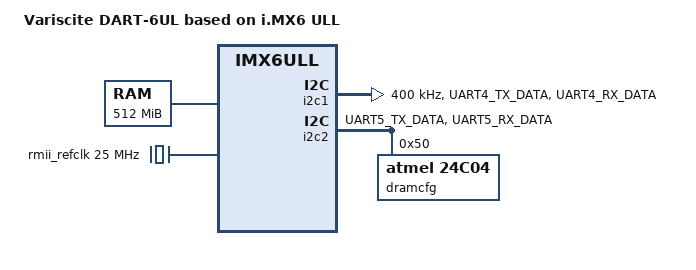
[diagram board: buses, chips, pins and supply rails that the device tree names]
/* 
 * Copyright (C) 2018 Amotus Solutions, Inc.
 */

#include "imx6ull.dtsi"

/ {
	model = "Variscite DART-6UL based on i.MX6 ULL";
	compatible = "variscite,imx6ull-variscite", "fsl,imx6ull";

	memory {
		reg = <0x80000000 0x20000000>;
	};

	clocks {
		rmii_refclk: oscillator {
			compatible = "fixed-clock";
			#clock-cells = <0>;
			clock-frequency = <25000000>;
			clock-output-names = "rmii-ref";
		};
	};
};

&wdog1 {
	pinctrl-names = "default";
	pinctrl-0 = <&pinctrl_wdog>;
	fsl,ext-reset-output;
};

&i2c1 {
	clock-frequency = <400000>;
	pinctrl-names = "default";
	pinctrl-0 = <&pinctrl_i2c1>;
	status = "okay";
};

&i2c2 {
	clock_frequency = <100000>;
	pinctrl-names = "default";
	pinctrl-0 = <&pinctrl_i2c2>;
	status = "okay";

	/* BR24G04NUX-3TTR DRAM timings eeprom */
	dramcfg: eeprom@50 {
		compatible = "atmel,24c04";
		pagesize = <16>;
		reg = <0x50>;
		read-only;
	};
};

&snvs_rtc {
	status = "disabled";
};

&snvs_poweroff {
	status = "okay";
};

&iomuxc {
	pinctrl_usdhc1: usdhc1grp {
		fsl,pins = <
		MX6UL_PAD_SD1_CMD__USDHC1_CMD		0x17059
		MX6UL_PAD_SD1_CLK__USDHC1_CLK		0x17059
		MX6UL_PAD_SD1_DATA0__USDHC1_DATA0	0x17059
		MX6UL_PAD_SD1_DATA1__USDHC1_DATA1	0x17059
		MX6UL_PAD_SD1_DATA2__USDHC1_DATA2	0x17059
		MX6UL_PAD_SD1_DATA3__USDHC1_DATA3	0x17059
		>;
	};

	pinctrl_usdhc1_100mhz: usdhc1grp100mhz {
		fsl,pins = <
		MX6UL_PAD_SD1_CMD__USDHC1_CMD		0x170b9
		MX6UL_PAD_SD1_CLK__USDHC1_CLK		0x100b9
		MX6UL_PAD_SD1_DATA0__USDHC1_DATA0	0x170b9
		MX6UL_PAD_SD1_DATA1__USDHC1_DATA1	0x170b9
		MX6UL_PAD_SD1_DATA2__USDHC1_DATA2	0x170b9
		MX6UL_PAD_SD1_DATA3__USDHC1_DATA3	0x170b9
		>;
	};

	pinctrl_usdhc1_200mhz: usdhc1grp200mhz {
		fsl,pins = <
		MX6UL_PAD_SD1_CMD__USDHC1_CMD		0x170f9
		MX6UL_PAD_SD1_CLK__USDHC1_CLK		0x100f9
		MX6UL_PAD_SD1_DATA0__USDHC1_DATA0	0x170f9
		MX6UL_PAD_SD1_DATA1__USDHC1_DATA1	0x170f9
		MX6UL_PAD_SD1_DATA2__USDHC1_DATA2	0x170f9
		MX6UL_PAD_SD1_DATA3__USDHC1_DATA3	0x170f9
		>;
	};

	pinctrl_usdhc2: usdhc2grp {
		fsl,pins = <
		MX6UL_PAD_NAND_RE_B__USDHC2_CLK		0x10069
		MX6UL_PAD_NAND_WE_B__USDHC2_CMD		0x17059
		MX6UL_PAD_NAND_DATA00__USDHC2_DATA0	0x17059
		MX6UL_PAD_NAND_DATA01__USDHC2_DATA1	0x17059
		MX6UL_PAD_NAND_DATA02__USDHC2_DATA2	0x17059
		MX6UL_PAD_NAND_DATA03__USDHC2_DATA3	0x17059
		MX6UL_PAD_NAND_DATA04__USDHC2_DATA4	0x17059
		MX6UL_PAD_NAND_DATA05__USDHC2_DATA5	0x17059
		MX6UL_PAD_NAND_DATA06__USDHC2_DATA6	0x17059
		MX6UL_PAD_NAND_DATA07__USDHC2_DATA7	0x17059
		>;
	};

	pinctrl_usdhc2_100mhz: usdhc2grp100mhz {
		fsl,pins = <
		MX6UL_PAD_NAND_RE_B__USDHC2_CLK		0x100b9
		MX6UL_PAD_NAND_WE_B__USDHC2_CMD		0x170b9
		MX6UL_PAD_NAND_DATA00__USDHC2_DATA0	0x170b9
		MX6UL_PAD_NAND_DATA01__USDHC2_DATA1	0x170b9
		MX6UL_PAD_NAND_DATA02__USDHC2_DATA2	0x170b9
		MX6UL_PAD_NAND_DATA03__USDHC2_DATA3	0x170b9
		MX6UL_PAD_NAND_DATA04__USDHC2_DATA4	0x170b9
		MX6UL_PAD_NAND_DATA05__USDHC2_DATA5	0x170b9
		MX6UL_PAD_NAND_DATA06__USDHC2_DATA6	0x170b9
		MX6UL_PAD_NAND_DATA07__USDHC2_DATA7	0x170b9
		>;
	};

	pinctrl_usdhc2_200mhz: usdhc2grp200mhz {
		fsl,pins = <
		MX6UL_PAD_NAND_RE_B__USDHC2_CLK		0x100f9
		MX6UL_PAD_NAND_WE_B__USDHC2_CMD		0x170f9
		MX6UL_PAD_NAND_DATA00__USDHC2_DATA0	0x170f9
		MX6UL_PAD_NAND_DATA01__USDHC2_DATA1	0x170f9
		MX6UL_PAD_NAND_DATA02__USDHC2_DATA2	0x170f9
		MX6UL_PAD_NAND_DATA03__USDHC2_DATA3	0x170f9
		MX6UL_PAD_NAND_DATA04__USDHC2_DATA4	0x170f9
		MX6UL_PAD_NAND_DATA05__USDHC2_DATA5	0x170f9
		MX6UL_PAD_NAND_DATA06__USDHC2_DATA6	0x170f9
		MX6UL_PAD_NAND_DATA07__USDHC2_DATA7	0x170f9
		>;
	};

	pinctrl_i2c1: i2c1grp {
		fsl,pins = <
		MX6UL_PAD_UART4_TX_DATA__I2C1_SCL	0x4001b8b0
		MX6UL_PAD_UART4_RX_DATA__I2C1_SDA	0x4001b8b0
		>;
	};

	pinctrl_i2c2: i2c2grp {
		fsl,pins = <
		MX6UL_PAD_UART5_TX_DATA__I2C2_SCL	0x4001b8b0
		MX6UL_PAD_UART5_RX_DATA__I2C2_SDA	0x4001b8b0
		>;
	};

	pinctrl_wdog: wdoggrp {
		fsl,pins = <
		MX6UL_PAD_GPIO1_IO08__WDOG1_WDOG_B	0x78b0
		>;
	};
};
